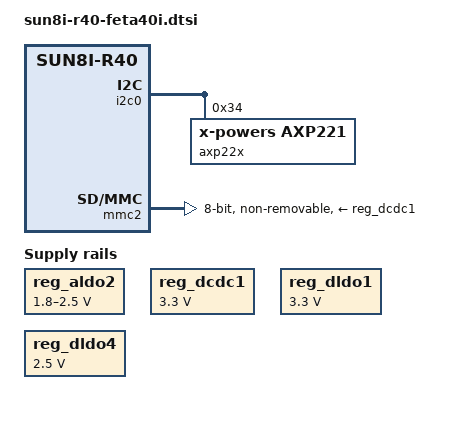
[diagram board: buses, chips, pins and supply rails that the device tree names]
// SPDX-License-Identifier: GPL-2.0+ OR MIT
// Copyright (C) 2021 Ivan Uvarov <i.uvarov@cognitivepilot.com>
// Based on the sun8i-r40-bananapi-m2-ultra.dts, which is: 
//  Copyright (C) 2017 Chen-Yu Tsai <wens@csie.org>
//  Copyright (C) 2017 Icenowy Zheng <icenowy@aosc.io>

/dts-v1/;

#include "sun8i-r40.dtsi"


&i2c0 {
	status = "okay";

	axp22x: pmic@34 {
		compatible = "x-powers,axp221";
		reg = <0x34>;
		interrupt-parent = <&nmi_intc>;
		interrupts = <0 IRQ_TYPE_LEVEL_LOW>;
	};
};
#include "axp22x.dtsi"

&mmc2 {
	vmmc-supply = <&reg_dcdc1>;
	vqmmc-supply = <&reg_aldo2>;
	bus-width = <8>;
  non-removable;
	status = "okay";
};


&pio {
	pinctrl-names = "default";
	pinctrl-0 = <&clk_out_a_pin>;
	vcc-pa-supply = <&reg_dcdc1>;
	vcc-pc-supply = <&reg_aldo2>;
	vcc-pd-supply = <&reg_dcdc1>;
	vcc-pf-supply = <&reg_dldo4>;
	vcc-pg-supply = <&reg_dldo1>;
};

&reg_aldo2 {
	regulator-always-on;
	regulator-min-microvolt = <1800000>;
	regulator-max-microvolt = <2500000>;
	regulator-name = "vcc-pa";
};
//bringing 2500000uV

&reg_dcdc1 {
	regulator-always-on;
	regulator-min-microvolt = <3300000>;
	regulator-max-microvolt = <3300000>;
	regulator-name = "vcc-3v3";
};

//I don't know whether these really belong here or 
&reg_dldo1 {
	regulator-always-on;
	regulator-min-microvolt = <3300000>;
	regulator-max-microvolt = <3300000>;
	regulator-name = "vcc-wifi-io"; // ?
};

&reg_dldo4 {
	regulator-always-on;
	regulator-min-microvolt = <2500000>;
	regulator-max-microvolt = <2500000>;
	regulator-name = "vdd2v5-sata"; // ?
};
